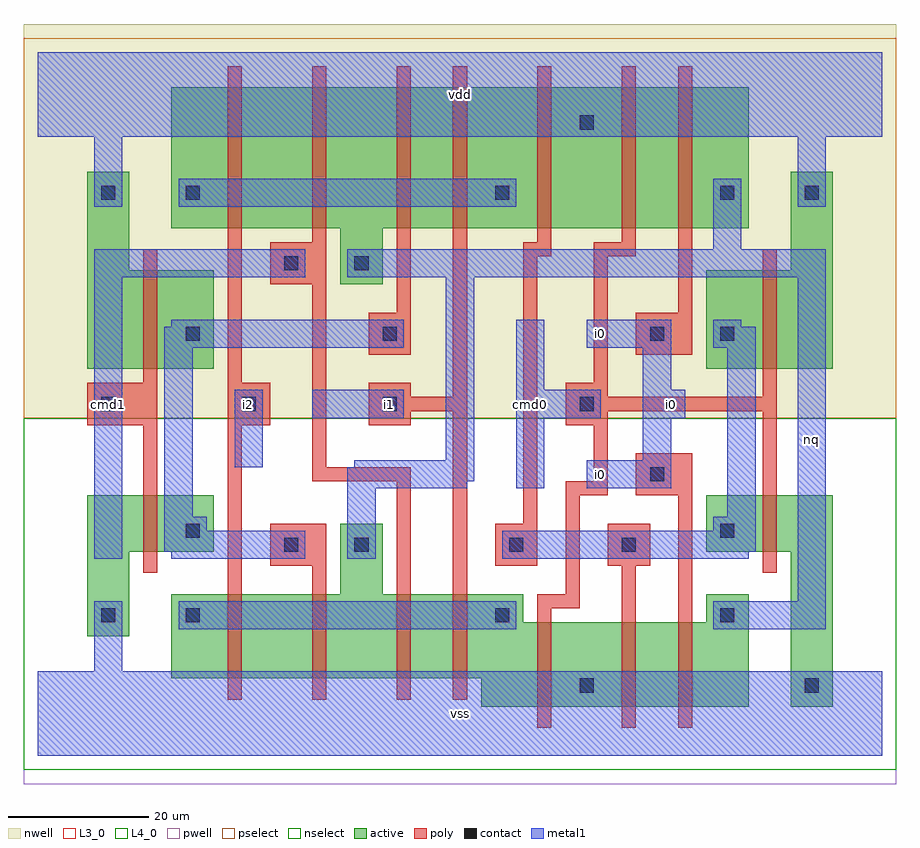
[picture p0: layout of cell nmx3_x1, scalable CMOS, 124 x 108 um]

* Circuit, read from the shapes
.subckt nmx3_x1 cmd0 cmd1 i0 i1 i2 nq vdd vss
M1 n1 cmd1 vss VSUBS nfet w=8u l=2u
M2 n2 i2 n3 VSUBS nfet w=12u l=2u
M3 nq n1 n2 VSUBS nfet w=12u l=2u
M4 n4 cmd1 nq VSUBS nfet w=12u l=2u
M5 n3 i1 n4 VSUBS nfet w=12u l=2u
M6 vss cmd0 n3 VSUBS nfet w=12u l=2u
M7 n5 n6 vss VSUBS nfet w=12u l=2u
M8 nq i0 n5 VSUBS nfet w=12u l=2u
M9 vss cmd0 n6 VSUBS nfet w=8u l=2u
M10 n1 cmd1 vdd n7 pfet w=14u l=2u
M11 n8 i2 n9 n7 pfet w=20u l=2u
M12 nq cmd1 n8 n7 pfet w=20u l=2u
M13 n10 n1 nq n7 pfet w=20u l=2u
M14 n9 i1 n10 n7 pfet w=20u l=2u
M15 vdd n6 n9 n7 pfet w=20u l=2u
M16 n11 cmd0 vdd n7 pfet w=20u l=2u
M17 nq i0 n11 n7 pfet w=20u l=2u
M18 vdd cmd0 n6 n7 pfet w=14u l=2u
.ends

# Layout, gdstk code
import gdstk
lib = gdstk.Library(unit=1e-6, precision=1e-09)
def R(c, l, rs):  # rectangles x0, y0, x1, y1
    for r in rs: c.add(gdstk.rectangle(r[:2], r[2:], *l))
def A(c, l, x, y, w, h, nx, ny, dx, dy):  # array of equal rectangles
    R(c, l, [(x+i*dx, y+j*dy, x+i*dx+w, y+j*dy+h) for i in range(nx) for j in range(ny)])
L3_0 = (3, 0)
L4_0 = (4, 0)
contact = (25, 0)
pwell = (41, 0)
nwell = (42, 0)
active = (43, 0)
pselect = (44, 0)
nselect = (45, 0)
poly = (46, 0)
metal1 = (49, 0)

nmx3_x1 = lib.new_cell('nmx3_x1')
R(nmx3_x1, L3_0, [(63,7,101,11), (107,7,113,29), (19,11,101,19), (7,17,13,29), (19,19,69,23), (95,19,101,23), (43,23,49,33), (7,29,25,37), (95,29,113,37)])
R(nmx3_x1, L4_0, [(7,55,25,69), (95,55,113,69), (43,67,49,75), (7,69,13,83), (107,69,113,83), (19,75,101,95)])
A(nmx3_x1, contact, 77, 9, 2, 2, 1, 3, 0, 40)
A(nmx3_x1, contact, 9, 49, 2, 2, 3, 1, 20, 0)
R(nmx3_x1, contact, [(109,9,111,11), (9,19,11,21), (21,19,23,21), (65,19,67,21), (97,19,99,21), (35,29,37,31), (45,29,47,31), (67,29,69,31), (83,29,85,31), (21,31,23,33), (97,31,99,33), (87,39,89,41), (21,59,23,61), (49,59,51,61), (87,59,89,61), (97,59,99,61), (35,69,37,71), (45,69,47,71), (9,79,11,81), (21,79,23,81), (65,79,67,81), (97,79,99,81), (109,79,111,81)])
R(nmx3_x1, pwell, [(-2,-4,122,48)])
R(nmx3_x1, nwell, [(-2,48,122,104)])
R(nmx3_x1, active, [(63,7,101,11), (107,7,113,29), (19,11,101,19), (7,17,13,29), (19,19,69,23), (95,19,101,23), (43,23,49,33), (7,29,25,37), (95,29,113,37), (7,55,25,69), (95,55,113,69), (43,67,49,75), (7,69,13,83), (107,69,113,83), (19,75,101,95)])
R(nmx3_x1, pselect, [(-2,48,122,102)])
R(nmx3_x1, nselect, [(-2,-2,122,48)])
R(nmx3_x1, poly, [(71,4,73,21), (83,4,85,27), (91,4,93,37), (27,8,29,47), (39,8,41,27), (51,8,53,39), (59,8,61,49), (71,21,77,23), (75,23,77,37), (15,26,17,47), (103,26,105,49), (33,27,41,33), (65,27,71,33), (81,27,87,33), (69,33,71,71), (75,37,81,39), (85,37,93,43), (39,39,53,41), (79,39,81,47), (39,41,41,67), (7,47,17,53), (27,47,33,53), (47,47,53,49), (75,47,81,49), (47,49,61,51), (75,49,105,51), (47,51,53,53), (59,51,61,98), (75,51,81,53), (103,51,105,72), (15,53,17,72), (27,53,29,98), (79,53,81,71), (47,57,53,63), (85,57,93,63), (51,63,53,98), (91,63,93,98), (33,67,41,73), (69,71,73,73), (79,71,85,73), (39,73,41,98), (71,73,73,98), (83,73,85,98)])
R(nmx3_x1, metal1, [(0,0,120,12), (8,12,12,22), (20,18,68,22), (96,18,112,22), (108,22,112,68), (8,28,12,68), (19,28,38,29), (44,28,48,38), (66,28,101,29), (18,29,38,32), (66,29,102,32), (18,32,24,34), (96,32,102,34), (18,34,22,58), (98,34,102,58), (44,38,61,39), (68,38,72,48), (78,38,90,42), (44,39,62,41), (28,41,32,52), (45,41,62,42), (58,42,62,68), (86,42,90,48), (39,48,52,52), (68,48,80,52), (86,48,92,52), (68,52,72,62), (86,52,90,58), (18,58,52,61), (78,58,90,62), (96,58,102,61), (19,61,52,62), (96,61,100,62), (8,68,38,72), (44,68,112,72), (96,72,100,82), (8,78,12,88), (20,78,68,82), (108,78,112,88), (0,88,120,100)])
nmx3_x1.add(gdstk.Label('cmd1', (10,50), layer=49, texttype=0))
nmx3_x1.add(gdstk.Label('i2', (30,50), layer=49, texttype=0))
nmx3_x1.add(gdstk.Label('vss', (60,6), layer=49, texttype=0))
nmx3_x1.add(gdstk.Label('i1', (50,50), layer=49, texttype=0))
nmx3_x1.add(gdstk.Label('vdd', (60,94), layer=49, texttype=0))
nmx3_x1.add(gdstk.Label('i0', (80,40), layer=49, texttype=0))
nmx3_x1.add(gdstk.Label('cmd0', (70,50), layer=49, texttype=0))
nmx3_x1.add(gdstk.Label('i0', (90,50), layer=49, texttype=0))
nmx3_x1.add(gdstk.Label('i0', (80,60), layer=49, texttype=0))
nmx3_x1.add(gdstk.Label('nq', (110,45), layer=49, texttype=0))

lib.write_gds('nmx3_x1.gds')
